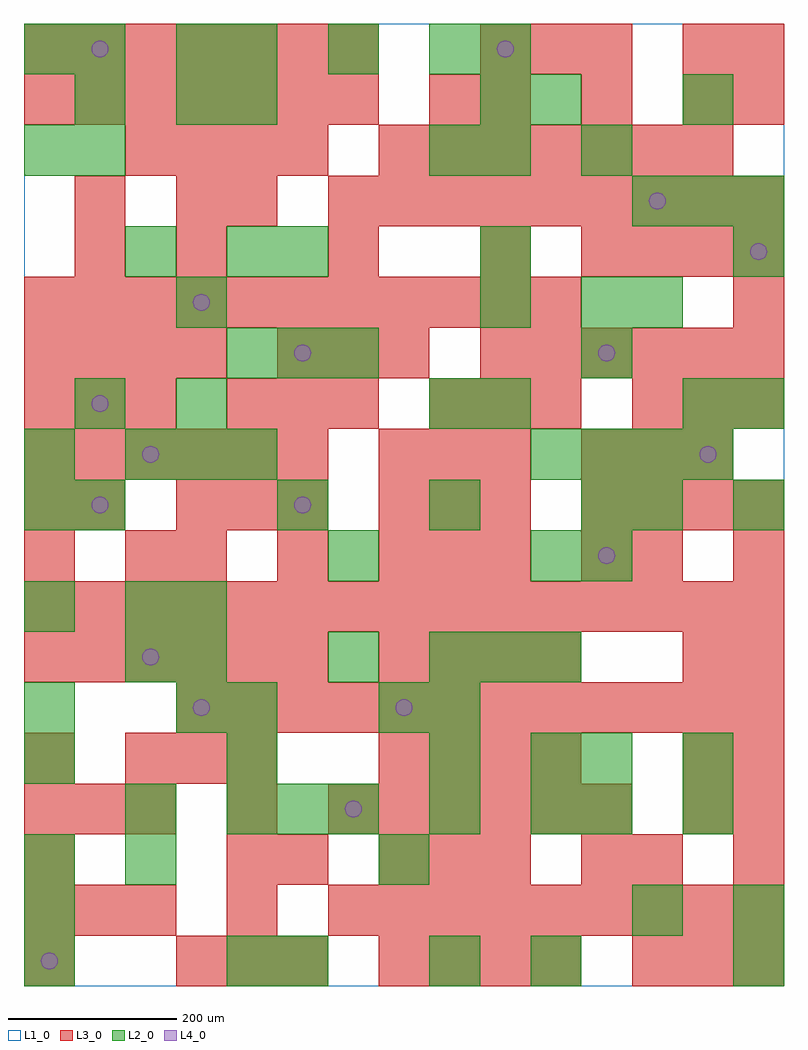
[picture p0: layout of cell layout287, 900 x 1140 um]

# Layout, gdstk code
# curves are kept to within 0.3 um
import gdstk
lib = gdstk.Library(unit=1e-6, precision=1e-09)
def R(c, l, rs):  # rectangles x0, y0, x1, y1
    for r in rs: c.add(gdstk.rectangle(r[:2], r[2:], *l))
def A(c, l, x, y, w, h, nx, ny, dx, dy):  # array of equal rectangles
    R(c, l, [(x+i*dx, y+j*dy, x+i*dx+w, y+j*dy+h) for i in range(nx) for j in range(ny)])
def P(c, l, *ps):  # polygons
    for p in ps: c.add(gdstk.Polygon(p, *l))
L1_0 = (1, 0)
L2_0 = (2, 0)
L3_0 = (3, 0)
L4_0 = (4, 0)

layout287 = lib.new_cell('layout287')
R(layout287, L1_0, [(0,0,900,1140)])
A(layout287, L2_0, 0, 0, 60, 60, 1, 3, 0, 60)
A(layout287, L2_0, 240, 180, 60, 60, 3, 2, 60, 540)
A(layout287, L2_0, 0, 240, 60, 60, 3, 1, 240, 0)
A(layout287, L2_0, 660, 240, 60, 60, 1, 3, 0, 240)
A(layout287, L2_0, 0, 300, 60, 60, 1, 3, 0, 120)
A(layout287, L2_0, 180, 300, 60, 60, 1, 3, 0, 60)
A(layout287, L2_0, 480, 360, 60, 60, 3, 1, 60, 0)
A(layout287, L2_0, 300, 540, 60, 60, 3, 1, 180, 0)
A(layout287, L2_0, 120, 600, 60, 60, 3, 1, 60, 0)
A(layout287, L2_0, 600, 600, 60, 60, 4, 1, 60, 0)
A(layout287, L2_0, 720, 900, 60, 60, 3, 1, 60, 0)
A(layout287, L2_0, 60, 960, 60, 60, 1, 3, 0, 60)
A(layout287, L2_0, 540, 960, 60, 60, 1, 3, 0, 60)
A(layout287, L2_0, 240, 1080, 60, 60, 3, 1, 120, 0)
R(layout287, L2_0, [(240,0,300,60), (300,0,360,60), (480,0,540,60), (600,0,660,60), (840,0,900,60), (720,60,780,120), (840,60,900,120), (120,120,180,180), (420,120,480,180), (120,180,180,240), (480,180,540,240), (600,180,660,240), (660,180,720,240), (780,180,840,240), (600,240,660,300), (780,240,840,300), (240,300,300,360), (420,300,480,360), (480,300,540,360), (120,360,180,420), (360,360,420,420), (120,420,180,480), (360,480,420,540), (600,480,660,540), (60,540,120,600), (720,540,780,600), (840,540,900,600), (0,600,60,660), (60,660,120,720), (180,660,240,720), (480,660,540,720), (540,660,600,720), (780,660,840,720), (840,660,900,720), (180,780,240,840), (540,780,600,840), (660,780,720,840), (720,780,780,840), (120,840,180,900), (240,840,300,900), (300,840,360,900), (540,840,600,900), (840,840,900,900), (0,960,60,1020), (480,960,540,1020), (660,960,720,1020), (180,1020,240,1080), (240,1020,300,1080), (600,1020,660,1080), (780,1020,840,1080), (0,1080,60,1140), (180,1080,240,1140)])
A(layout287, L3_0, 0, 0, 60, 60, 1, 3, 0, 120)
A(layout287, L3_0, 180, 0, 60, 60, 3, 2, 60, 540)
A(layout287, L3_0, 420, 0, 60, 60, 4, 2, 60, 240)
A(layout287, L3_0, 720, 0, 60, 60, 3, 2, 60, 660)
A(layout287, L3_0, 0, 60, 60, 60, 3, 2, 60, 120)
A(layout287, L3_0, 240, 60, 60, 60, 1, 3, 0, 60)
A(layout287, L3_0, 360, 60, 60, 60, 9, 2, 60, 840)
A(layout287, L3_0, 420, 120, 60, 60, 3, 2, 60, 420)
A(layout287, L3_0, 840, 120, 60, 60, 1, 3, 0, 60)
A(layout287, L3_0, 360, 180, 60, 60, 6, 1, 60, 0)
A(layout287, L3_0, 120, 240, 60, 60, 3, 1, 60, 0)
A(layout287, L3_0, 180, 300, 60, 60, 12, 1, 60, 0)
A(layout287, L3_0, 0, 360, 60, 60, 6, 2, 60, 240)
A(layout287, L3_0, 420, 360, 60, 60, 4, 1, 60, 0)
A(layout287, L3_0, 0, 420, 60, 60, 15, 1, 60, 0)
A(layout287, L3_0, 180, 480, 60, 60, 3, 1, 120, 0)
A(layout287, L3_0, 660, 540, 60, 60, 4, 2, 60, 300)
A(layout287, L3_0, 420, 600, 60, 60, 3, 1, 60, 0)
A(layout287, L3_0, 660, 600, 60, 60, 3, 1, 60, 0)
A(layout287, L3_0, 0, 660, 60, 60, 3, 1, 60, 0)
A(layout287, L3_0, 240, 660, 60, 60, 3, 1, 60, 0)
A(layout287, L3_0, 480, 660, 60, 60, 3, 1, 60, 0)
A(layout287, L3_0, 0, 720, 60, 60, 4, 1, 60, 0)
A(layout287, L3_0, 300, 720, 60, 60, 3, 1, 60, 0)
A(layout287, L3_0, 540, 720, 60, 60, 6, 1, 60, 0)
A(layout287, L3_0, 0, 780, 60, 60, 11, 1, 60, 0)
A(layout287, L3_0, 180, 840, 60, 60, 3, 1, 180, 0)
A(layout287, L3_0, 120, 960, 60, 60, 4, 1, 60, 0)
A(layout287, L3_0, 420, 960, 60, 60, 7, 1, 60, 0)
A(layout287, L3_0, 0, 1020, 60, 60, 7, 2, 60, 60)
A(layout287, L3_0, 540, 1020, 60, 60, 3, 1, 120, 0)
A(layout287, L3_0, 540, 1080, 60, 60, 3, 1, 60, 0)
R(layout287, L3_0, [(300,120,360,180), (660,120,720,180), (720,120,780,180), (780,180,840,240), (780,240,840,300), (780,360,840,420), (840,360,900,420), (0,480,60,540), (120,480,180,540), (480,480,540,540), (540,480,600,540), (660,480,720,540), (720,480,780,540), (840,480,900,540), (0,540,60,600), (60,540,120,600), (840,780,900,840), (60,840,120,900), (60,900,120,960), (180,900,240,960), (240,900,300,960), (480,1020,540,1080), (840,1020,900,1080), (780,1080,840,1140), (840,1080,900,1140)])
P(layout287, L4_0, [(40,30),(39.239,33.827),(37.071,37.071),(33.827,39.239),(30,40),(26.173,39.239),(22.929,37.071),(20.761,33.827),(20,30),(20.761,26.173),(22.929,22.929),(26.173,20.761),(30,20),(33.827,20.761),(37.071,22.929),(39.239,26.173)],
  [(100,570),(99.239,573.827),(97.071,577.071),(93.827,579.239),(90,580),(86.173,579.239),(82.929,577.071),(80.761,573.827),(80,570),(80.761,566.173),(82.929,562.929),(86.173,560.761),(90,560),(93.827,560.761),(97.071,562.929),(99.239,566.173)],
  [(100,690),(99.239,693.827),(97.071,697.071),(93.827,699.239),(90,700),(86.173,699.239),(82.929,697.071),(80.761,693.827),(80,690),(80.761,686.173),(82.929,682.929),(86.173,680.761),(90,680),(93.827,680.761),(97.071,682.929),(99.239,686.173)],
  [(100,1110),(99.239,1113.827),(97.071,1117.071),(93.827,1119.239),(90,1120),(86.173,1119.239),(82.929,1117.071),(80.761,1113.827),(80,1110),(80.761,1106.173),(82.929,1102.929),(86.173,1100.761),(90,1100),(93.827,1100.761),(97.071,1102.929),(99.239,1106.173)],
  [(160,390),(159.239,393.827),(157.071,397.071),(153.827,399.239),(150,400),(146.173,399.239),(142.929,397.071),(140.761,393.827),(140,390),(140.761,386.173),(142.929,382.929),(146.173,380.761),(150,380),(153.827,380.761),(157.071,382.929),(159.239,386.173)],
  [(160,630),(159.239,633.827),(157.071,637.071),(153.827,639.239),(150,640),(146.173,639.239),(142.929,637.071),(140.761,633.827),(140,630),(140.761,626.173),(142.929,622.929),(146.173,620.761),(150,620),(153.827,620.761),(157.071,622.929),(159.239,626.173)],
  [(220,330),(219.239,333.827),(217.071,337.071),(213.827,339.239),(210,340),(206.173,339.239),(202.929,337.071),(200.761,333.827),(200,330),(200.761,326.173),(202.929,322.929),(206.173,320.761),(210,320),(213.827,320.761),(217.071,322.929),(219.239,326.173)],
  [(220,810),(219.239,813.827),(217.071,817.071),(213.827,819.239),(210,820),(206.173,819.239),(202.929,817.071),(200.761,813.827),(200,810),(200.761,806.173),(202.929,802.929),(206.173,800.761),(210,800),(213.827,800.761),(217.071,802.929),(219.239,806.173)],
  [(340,570),(339.239,573.827),(337.071,577.071),(333.827,579.239),(330,580),(326.173,579.239),(322.929,577.071),(320.761,573.827),(320,570),(320.761,566.173),(322.929,562.929),(326.173,560.761),(330,560),(333.827,560.761),(337.071,562.929),(339.239,566.173)],
  [(340,750),(339.239,753.827),(337.071,757.071),(333.827,759.239),(330,760),(326.173,759.239),(322.929,757.071),(320.761,753.827),(320,750),(320.761,746.173),(322.929,742.929),(326.173,740.761),(330,740),(333.827,740.761),(337.071,742.929),(339.239,746.173)],
  [(400,210),(399.239,213.827),(397.071,217.071),(393.827,219.239),(390,220),(386.173,219.239),(382.929,217.071),(380.761,213.827),(380,210),(380.761,206.173),(382.929,202.929),(386.173,200.761),(390,200),(393.827,200.761),(397.071,202.929),(399.239,206.173)],
  [(460,330),(459.239,333.827),(457.071,337.071),(453.827,339.239),(450,340),(446.173,339.239),(442.929,337.071),(440.761,333.827),(440,330),(440.761,326.173),(442.929,322.929),(446.173,320.761),(450,320),(453.827,320.761),(457.071,322.929),(459.239,326.173)],
  [(580,1110),(579.239,1113.827),(577.071,1117.071),(573.827,1119.239),(570,1120),(566.173,1119.239),(562.929,1117.071),(560.761,1113.827),(560,1110),(560.761,1106.173),(562.929,1102.929),(566.173,1100.761),(570,1100),(573.827,1100.761),(577.071,1102.929),(579.239,1106.173)],
  [(700,510),(699.239,513.827),(697.071,517.071),(693.827,519.239),(690,520),(686.173,519.239),(682.929,517.071),(680.761,513.827),(680,510),(680.761,506.173),(682.929,502.929),(686.173,500.761),(690,500),(693.827,500.761),(697.071,502.929),(699.239,506.173)],
  [(700,750),(699.239,753.827),(697.071,757.071),(693.827,759.239),(690,760),(686.173,759.239),(682.929,757.071),(680.761,753.827),(680,750),(680.761,746.173),(682.929,742.929),(686.173,740.761),(690,740),(693.827,740.761),(697.071,742.929),(699.239,746.173)],
  [(760,930),(759.239,933.827),(757.071,937.071),(753.827,939.239),(750,940),(746.173,939.239),(742.929,937.071),(740.761,933.827),(740,930),(740.761,926.173),(742.929,922.929),(746.173,920.761),(750,920),(753.827,920.761),(757.071,922.929),(759.239,926.173)],
  [(820,630),(819.239,633.827),(817.071,637.071),(813.827,639.239),(810,640),(806.173,639.239),(802.929,637.071),(800.761,633.827),(800,630),(800.761,626.173),(802.929,622.929),(806.173,620.761),(810,620),(813.827,620.761),(817.071,622.929),(819.239,626.173)],
  [(880,870),(879.239,873.827),(877.071,877.071),(873.827,879.239),(870,880),(866.173,879.239),(862.929,877.071),(860.761,873.827),(860,870),(860.761,866.173),(862.929,862.929),(866.173,860.761),(870,860),(873.827,860.761),(877.071,862.929),(879.239,866.173)])

lib.write_gds('layout287.gds')
